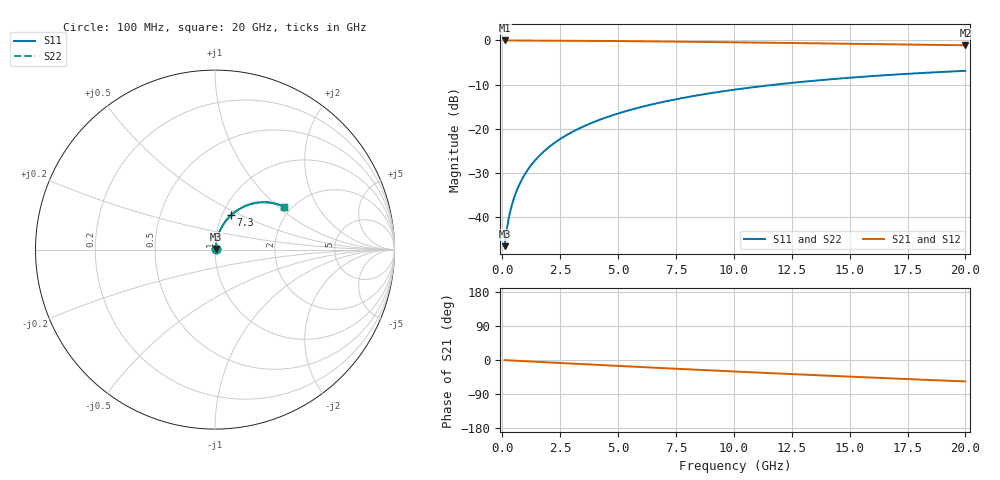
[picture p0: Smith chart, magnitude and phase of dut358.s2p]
! Touchstone file exported from HFSS 2026.1.0
!  File:  C:/ffzhzh/LocalFiles/Ansys_Project_Files/temp_train_TMRDL_358_1783004120_4048.aedt
!  Generated:  10:56:49 PM Jul  2, 2026
!  Design:  TMRDL
!  Project:  temp_train_TMRDL_358_1783004120_4048
! Variables:
!  h_bsmrdl = 2um
!  h_ox = 20um
!  h_rdl = 5um
!  h_sub = 80um
!  h_tmrdl = 4.27um
!  h_tsv = 80um
!  h_via = 3um
!  l_bsmrdl = 300um
!  l_sub = 1286.71um
!  l_tmrdl = 886.71um
!  m_sub = 200um
!  pitch = 51.01um
!  r_tsv = 6um
!  s_tmrdl = 10um
!  w_bsmrdl = 18um
!  w_sub = 500um
!  w_tmrdl = 23.88um
!  x_tsv_center1 = 898.65um
!  x_tsv_center2 = 1216.65um
!  x_tsv_center3 = 2127.24um
!  x_tsv_center4 = 2445.24um
!  x_tsv_center5 = 3355.83um
!  x_tsv_center6 = 3673.83um
# GHz S MA R 50.000000
! Terminal data exported
! Port[1] = TM_RDL1_1_T1
! Port[2] = TM_RDL1_1_T2
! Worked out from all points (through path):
!   200 points, 100 MHz to 20 GHz, reference 50 ohm
!   highest |S21| = -0.03 dB at 100 MHz (marker M1); lowest = -1.1 dB at 20 GHz (marker M2)
!   group delay of S21, straight-line fit = 7.85 ps
!   lowest |S11| = -46.5 dB at 100 MHz (marker M3), VSWR 1.01, Z = 50.3 + j0.341 ohm
!   |S11| at or under -10 dB: start of sweep to 11.8 GHz
!   |S22| runs from -46.5 to -6.9 dB; largest |S21 - S12| = 9.1e-15
!   S11 on the Smith chart (normalised r, x): 100 MHz: 1.01, +0.01; 7.3 GHz: 1.10, +0.44; 20 GHz: 1.82, +1.10
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0.1  0.004727 45.8  0.9967 -0.3  0.9967 -0.3  0.004727 45.8
! Gamma 0 0 0 0
! Port Impedance 50 0 50 0
0.2  0.007518 61.6  0.9965 -0.7  0.9965 -0.7  0.007518 61.6
0.3  0.01045 68.3  0.9963 -1.0  0.9963 -1.0  0.01045 68.3
0.4  0.0134 72.0  0.9961 -1.3  0.9961 -1.3  0.0134 72.0
0.5  0.01637 74.4  0.9959 -1.6  0.9959 -1.6  0.01637 74.4
0.6  0.01936 76.1  0.9958 -1.9  0.9958 -1.9  0.01936 76.1
0.8  0.02538 78.0  0.9955 -2.6  0.9955 -2.6  0.02538 78.0
1.1  0.03448 79.3  0.9951 -3.5  0.9951 -3.5  0.03448 79.3
1.5  0.04664 79.7  0.9944 -4.8  0.9944 -4.8  0.04664 79.7
1.8  0.05574 79.4  0.9937 -5.7  0.9937 -5.7  0.05573 79.4
2.1  0.0648 79.0  0.993 -6.7  0.993 -6.7  0.0648 79.0
2.7  0.08277 77.7  0.9912 -8.5  0.9912 -8.5  0.08277 77.7
3.5  0.1063 75.7  0.9882 -11.0  0.9882 -11.0  0.1063 75.7
4.2  0.1265 73.8  0.9852 -13.2  0.9852 -13.2  0.1265 73.8
5  0.1491 71.5  0.9814 -15.6  0.9814 -15.6  0.1491 71.5
6.8  0.1978 66.4  0.9714 -21.0  0.9714 -21.0  0.1978 66.4
7.3  0.2108 65.0  0.9683 -22.5  0.9683 -22.5  0.2108 65.0
8.6  0.2434 61.4  0.96 -26.3  0.96 -26.3  0.2433 61.4
10.1  0.2788 57.3  0.9496 -30.6  0.9496 -30.6  0.2788 57.3
13.4  0.3485 48.4  0.9256 -39.7  0.9256 -39.7  0.3485 48.4
16.7  0.4062 40.0  0.9015 -48.3  0.9015 -48.3  0.4062 40.0
20  0.4523 32.0  0.8794 -56.5  0.8794 -56.5  0.4523 32.0
